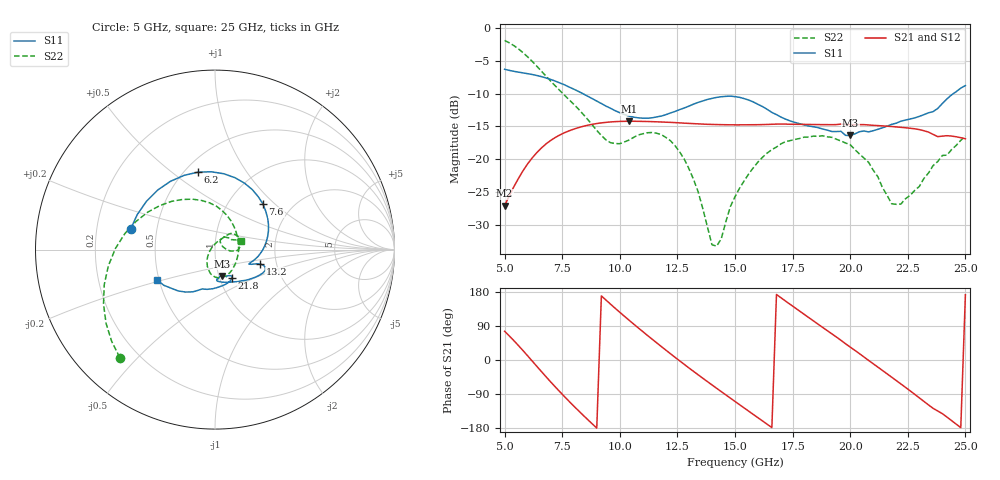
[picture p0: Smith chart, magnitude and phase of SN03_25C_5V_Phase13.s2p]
!File name = SN03_25C_5V_Phase13.s2p
!Date = 2/3/2014
!Time = 2:35 PM
!Test duration(min) = 0.07
!Test = SPars
!MPTS version = 7.120.8
!Comments =
!set_LD1(binary) = 13
!set_LD2(binary) = 524274
!test = SPars
!date_code = 20140203
!file_name = SN03_25C_5V_Phase13.s2p
!VREF(V) = 5.000
!VREF(mA) = 0.002
# GHz  S  DB  R  50
!%	Freq(GHz)  S11(dB)  S11(deg)  S21(dB)  S21(deg)  S12(dB)  S12(deg)  S22(dB)  S22(deg)
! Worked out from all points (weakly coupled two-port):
!   101 points, 5 GHz to 25 GHz, reference 50 ohm
!   highest |S21| = -14.21 dB at 10.4 GHz (marker M1); lowest = -27.0 dB at 5 GHz (marker M2)
!   lowest |S11| = -16.4 dB at 20 GHz (marker M3), VSWR 1.36, Z = 51.8 - j15.5 ohm
!   |S11| at or under -10 dB: 8.39 GHz to 24.48 GHz (16.09 GHz wide, 97.9 % of centre)
!   |S22| runs from -33.2 to -1.9 dB; largest |S21 - S12| = 0.00055
!   S11 on the Smith chart (normalised r, x): 5 GHz: 0.35, +0.10; 6.2 GHz: 0.58, +0.62; 7.6 GHz: 1.44, +0.85; 13.2 GHz: 1.64, -0.28; 21.8 GHz: 1.14, -0.38; 25 GHz: 0.49, -0.19
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5  -6.30 166.4  -27.04 75.9  -27.05 75.9  -1.92 -131.4
5.6  -6.74 133.9  -22.92 38.2  -22.93 38.2  -3.21 -154.0
6.2  -7.10 102.3  -19.78 -2.9  -19.79 -2.9  -5.11 179.4
6.8  -7.62 74.4  -17.65 -44.4  -17.68 -44.2  -7.35 150.9
7.6  -8.66 43.6  -15.96 -96.7  -15.98 -96.6  -10.24 114.0
8.4  -10.02 19.3  -14.99 -145.2  -15.01 -145.1  -13.11 79.7
9.6  -12.24 -8.5  -14.32 147.2  -14.33 147.3  -17.48 11.2
10.4  -13.44 -19.2  -14.21 105.1  -14.22 105.1  -17.07 -38.7
11.8  -13.43 -22.4  -14.32 35.7  -14.34 35.7  -16.24 -89.0
12.6  -12.44 -19.5  -14.46 -2.4  -14.47 -2.4  -18.89 -110.0
13.2  -11.61 -17.8  -14.57 -30.0  -14.59 -30.0  -23.05 -128.5
14  -10.74 -18.7  -14.70 -65.7  -14.70 -65.8  -33.00 169.8
14.4  -10.48 -20.2  -14.73 -83.3  -14.74 -83.3  -32.13 106.3
15  -10.47 -24.3  -14.76 -109.3  -14.77 -109.4  -25.71 68.0
16.4  -12.41 -45.7  -14.70 -169.7  -14.71 -169.7  -19.05 48.6
18.4  -15.04 -85.0  -14.71 103.4  -14.73 103.5  -16.48 24.1
20  -16.38 -74.8  -14.73 34.2  -14.74 34.2  -17.78 -1.4
20.8  -15.83 -64.4  -14.78 -1.1  -14.79 -1.2  -20.47 -5.0
21.8  -14.69 -59.4  -15.01 -45.4  -15.02 -45.4  -26.77 21.5
23  -13.47 -87.1  -15.48 -100.0  -15.49 -100.0  -24.13 61.5
24.2  -10.80 -124.9  -16.41 -150.6  -16.43 -150.6  -19.37 31.0
25  -8.78 -152.1  -16.88 172.3  -16.89 172.3  -16.47 17.7
